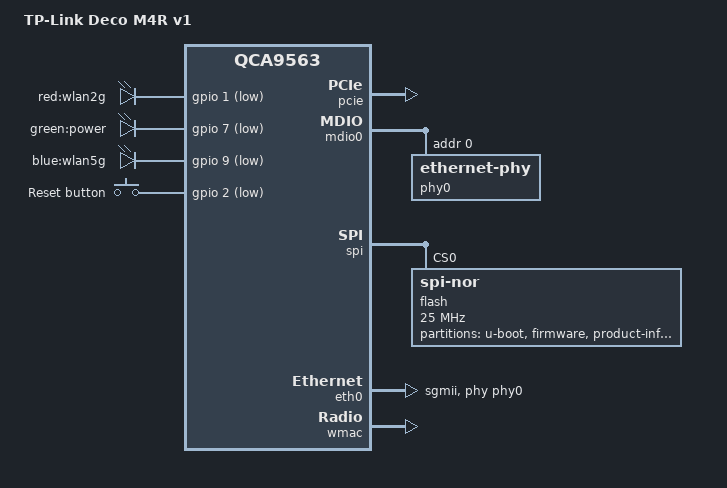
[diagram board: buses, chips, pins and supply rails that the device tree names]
// SPDX-License-Identifier: GPL-2.0-or-later OR MIT

#include <dt-bindings/gpio/gpio.h>
#include <dt-bindings/input/input.h>

#include "qca956x.dtsi"

/ {
	compatible = "tplink,deco-m4r-v1", "qca,qca9563";
	model = "TP-Link Deco M4R v1";

	aliases {
		led-boot = &led_power;
		led-failsafe = &led_power;
		led-running = &led_power;
		led-upgrade = &led_power;
	};

	leds {
		compatible = "gpio-leds";

		wlan2g {
			label = "red:wlan2g";
			gpios = <&gpio 1 GPIO_ACTIVE_LOW>;
			linux,default-trigger = "phy1tpt";
		};

		led_power: power {
			label = "green:power";
			gpios = <&gpio 7 GPIO_ACTIVE_LOW>;
			default-state = "on";
		};

		wlan5g {
			label = "blue:wlan5g";
			gpios = <&gpio 9 GPIO_ACTIVE_LOW>;
			linux,default-trigger = "phy0tpt";
		};
	};


	keys {
		compatible = "gpio-keys";

		reset {
			label = "Reset button";
			linux,code = <KEY_RESTART>;
			gpios = <&gpio 2 GPIO_ACTIVE_LOW>;
			debounce-interval = <60>;
		};
	};
};

&pcie {
	status = "okay";
};

&mdio0 {
	status = "okay";

	phy0: ethernet-phy@0 {
		reg = <0>;
		phy-mode = "sgmii";
		qca,mib-poll-interval = <500>;

		qca,ar8327-initvals = <
			0x04 0x00080080 /* PORT0 PAD MODE CTRL */
			0x7c 0x0000007e /* PORT0_STATUS */
			>;
	};
};

&spi {
	status = "okay";
	num-cs = <1>;

	flash@0 {
		compatible = "jedec,spi-nor";
		reg = <0>;
		spi-max-frequency = <25000000>;

		partitions {
			compatible = "fixed-partitions";
			#address-cells = <1>;
			#size-cells = <1>;

			uboot: partition@0 {
				label = "u-boot";
				reg = <0x000000 0x080000>;
				read-only;
			};

			partition@80000 {
				compatible = "denx,uimage";
				label = "firmware";
				reg = <0x080000 0xe00000>;
			};

			partition@e80000 {
				label = "product-info";
				reg = <0xe80000 0x05000>;
				read-only;
			};

			config: partition@e85000 {
				label = "config";
				reg = <0xe85000 0x16b000>;
				read-only;

				nvmem-layout {
					compatible = "fixed-layout";
					#address-cells = <1>;
					#size-cells = <1>;

					macaddr_config_8: macaddr@8 {
						reg = <0x8 0x6>;
					};
				};
			};

			art: partition@ff0000 {
				label = "art";
				reg = <0xff0000 0x010000>;
				read-only;
			};
		};
	};
};

&eth0 {
	status = "okay";

	phy-mode = "sgmii";
	phy-handle = <&phy0>;

	nvmem-cells = <&macaddr_config_8>;
	nvmem-cell-names = "mac-address";
};

&wmac {
	status = "okay";

	mtd-cal-data = <&art 0x1000>;
	nvmem-cells = <&macaddr_config_8>;
	nvmem-cell-names = "mac-address";
};
